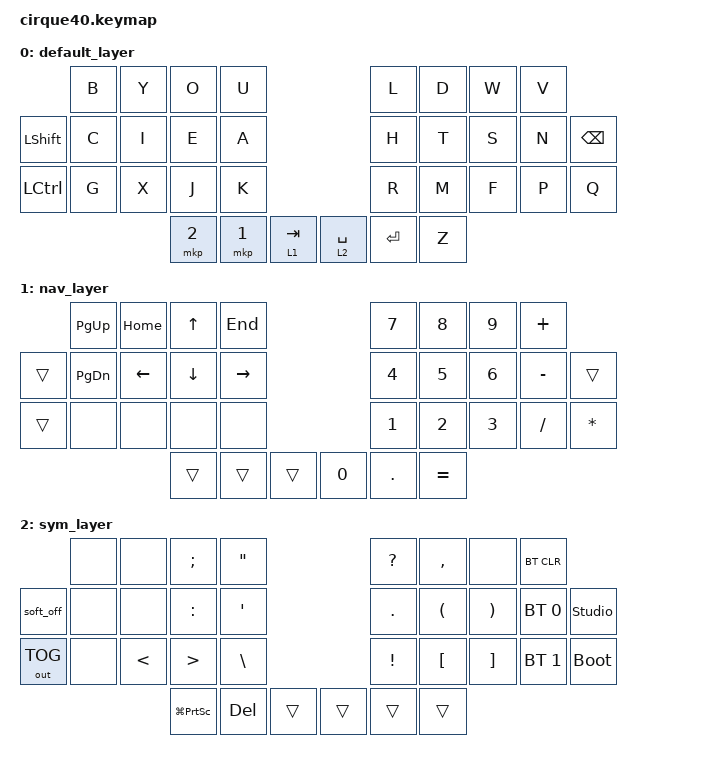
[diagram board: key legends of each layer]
 /*
 * Copyright (c) 2024 idesignstuff
 *
 * SPDX-License-Identifier: MIT
 */

#include <behaviors.dtsi>
#include <dt-bindings/zmk/keys.h>
#include <dt-bindings/zmk/bt.h>
#include <dt-bindings/zmk/outputs.h>
#include <zephyr/dt-bindings/input/input-event-codes.h>
#include <input/processors.dtsi>
#include <dt-bindings/zmk/input_transform.h>
#include <dt-bindings/zmk/ext_power.h>
#include <dt-bindings/zmk/pointing.h>

// layer defines
#define DEFAULT 0
#define NAV     1
#define SYM     2

 / {
     glidepoint_listener {
        compatible = "zmk,input-listener";
        device = <&glidepoint>;
        input-processors = 
        <&zip_xy_transform (INPUT_TRANSFORM_XY_SWAP |INPUT_TRANSFORM_X_INVERT | INPUT_TRANSFORM_Y_INVERT)>,
        <&zip_temp_layer 4 1000>;
     }; //end glidepoint
/* commenting out scroller function until it's understood
      scroller {
        layers = <SCROLL>;
        input-processors =
            <&zip_xy_to_scroll_mapper>,
            <&zip_scroll_transform (INPUT_TRANSFORM_XY_SWAP | INPUT_TRANSFORM_Y_INVERT)>,
            <&zip_scroll_scaler 1 6>;
    }; // end scroller
*/
   }; // end cirque listener group

// Mouse Scroll Value
#define ZMK_POINTING_DEFAULT_SCRL_VAL 100




/ {
    behaviors {
        // Home row mod tap settings
        /* hrm: home_row_mods {
            compatible = "zmk,behavior-hold-tap";
            label = "HOME_ROW_MODS";
            #binding-cells = <2>;
            tapping-term-ms = <200>;
            quick-tap-ms = <0>;
            flavor = "tap-preferred";
            bindings = <&kp>, <&kp>;
        }; // end home row mod tap settings*/

        pht: positional_hold_tap {
            compatible = "zmk,behavior-hold-tap";
            label = "POSITIONAL_HOLD_TAP";
            #binding-cells = <2>;
            flavor = "hold-preferred";
            tapping-term-ms = <400>;
            quick-tap-ms = <200>;
            bindings = <&kp>, <&kp>;
            hold-trigger-key-positions = <1>;    // <---[[the W key]]
            }; //end positional hold tap

       rpi: require_prior_idle {
         compatible = "zmk,behavior-hold-tap";
         #binding-cells = <2>;
         flavor = "tap-preferred";
         tapping-term-ms = <200>;
         quick-tap-ms = <200>;
         require-prior-idle-ms = <80>;
         bindings = <&kp>, <&kp>;
         }; //end require prior idle
    }; // end behaviors
};

/ {
    combos {
        compatible = "zmk,combos";

        combo_grave {
            bindings = <&kp GRAVE>;
            key-positions = <0 1>;
            require-prior-idle-ms = <100>;
            layers = <0>;
        };

        combo_capslock {
            bindings = <&caps_word>;
            key-positions = <23 26>;
            require-prior-idle-ms = <100>;
            layers = <0>;
        };

        combo_hyphen {
            bindings = <&kp MINUS>;
            key-positions = <8 9>;
            require-prior-idle-ms = <100>;
            layers = <0>;
        };

        combo_equals {
            bindings = <&kp EQUAL>;
            key-positions = <18 19>;
            require-prior-idle-ms = <100>;
            layers = <0>;
        };

        combo_backslash {
            bindings = <&kp BSLH>;
            key-positions = <38 39>;
            require-prior-idle-ms = <100>;
            layers = <0>;
        };

        open_par {
            bindings = <&kp LEFT_PARENTHESIS>;
            key-positions = <43 44>;
            require-prior-idle-ms = <100>;
        };

        close_par {
            bindings = <&kp RIGHT_PARENTHESIS>;
            key-positions = <45 46>;
            require-prior-idle-ms = <100>;
        };

        open_brkt {
            bindings = <&kp LEFT_BRACKET>;
            key-positions = <42 43>;
            require-prior-idle-ms = <100>;
        };

        close_brkt {
            bindings = <&kp RIGHT_BRACKET>;
            key-positions = <46 47>;
            require-prior-idle-ms = <100>;
        };

        mmb_combo {
            bindings = <&mkp MB3>;
            key-positions = <35 36>;
            require-prior-idle-ms = <250>;
        };

    };
};

/ {
    macros {
       // Your macros here ;)
    };

    keymap {
        compatible = "zmk,keymap";

        default_layer {
            bindings = <   
//               ╭──────────────┬──────────────┬──────────────┬──────────────╮                                     ╭──────────────┬──────────────┬──────────────┬─────────────╮
                       &kp B          &kp Y         &kp O          &kp U                                                 &kp L          &kp D          &kp W         &kp V
//╭──────────────┼──────────────┼──────────────┼──────────────┼──────────────┤                                     ├──────────────┼──────────────┼──────────────┼──────────────┼────────────────╮
     &kp LSHFT          &kp C          &kp I         &kp E         &kp A                                                 &kp H          &kp T          &kp S          &kp N       &kp BSPC 
//├──────────────┼──────────────┼──────────────┼──────────────┼──────────────┤                                     ├──────────────┼──────────────┼──────────────┼──────────────┼────────────────┤ 
     &kp LCTRL         &kp G           &kp X         &kp J          &kp K                                                &kp R          &kp M          &kp F          &kp P          &kp Q
//╰──────────────┴──────────────┴──────────────┼──────────────┼──────────────┼─────────────────╮ ╭─────────────────┼──────────────┼──────────────┼──────────────┴──────────────┴────────────────╯ 
                                                     &mkp 2        &mkp 1          &lt 1 TAB          &lt 2 SPACE      &kp RET         &kp Z
//                                             ╰──────────────┴──────────────┴─────────────────╯ ╰─────────────────┴──────────────┴──────────────╯
            >;
        }; // end default layer
        
        nav_layer {
            bindings = <
//               ╭──────────────┬──────────────┬──────────────┬──────────────╮                                     ╭──────────────┬──────────────┬──────────────┬─────────────╮
                     &kp PG_UP       &kp HOME       &kp UP        &kp END                                               &kp N7          &kp N8          &kp N9       &kp PLUS
//╭──────────────┼──────────────┼──────────────┼──────────────┼──────────────┤                                     ├──────────────┼──────────────┼──────────────┼──────────────┼────────────────╮
       &trans        &kp PG_DN      &kp LEFT      &kp DOWN       &kp RIGHT                                             &kp N4          &kp N5          &kp N6       &kp MINUS       &trans
//├──────────────┼──────────────┼──────────────┼──────────────┼──────────────┤                                     ├──────────────┼──────────────┼──────────────┼──────────────┼────────────────┤ 
       &trans          &none           &none         &none          &none                                               &kp N1          &kp N2          &kp N3       &kp FSLH        &kp ASTRK
//╰──────────────┴──────────────┴──────────────┼──────────────┼──────────────┼─────────────────╮ ╭─────────────────┼──────────────┼──────────────┼──────────────┴──────────────┴────────────────╯ 
                                                     &trans         &trans          &trans            &kp N0           &kp DOT      &kp EQUAL
//                                             ╰──────────────┴──────────────┴─────────────────╯ ╰─────────────────┴──────────────┴──────────────╯
            >;
        }; // end nav layer

        sym_layer {
            bindings = <
//               ╭──────────────┬──────────────┬──────────────┬──────────────╮                                     ╭──────────────┬──────────────┬──────────────┬─────────────╮
                       &none          &none        &kp SEMI       &kp DQT                                              &kp QMARK      &kp COMMA       &none       &bt BT_CLR
//╭──────────────┼──────────────┼──────────────┼──────────────┼──────────────┤                                     ├──────────────┼──────────────┼──────────────┼──────────────┼────────────────╮
     &soft_off         &none          &none        &kp COLON      &kp APOS                                              &kp DOT       &kp LPAR        &kp RPAR    &bt BT_SEL 0    &studio_unlock
//├──────────────┼──────────────┼──────────────┼──────────────┼──────────────┤                                     ├──────────────┼──────────────┼──────────────┼──────────────┼────────────────┤ 
     &out OUT_TOG      &none          &kp LT       &kp GT         &kp BSLH                                             &kp EXCL       &kp LBKT        &kp RBKT     &bt BT_SEL 1    &bootloader
//╰──────────────┴──────────────┴──────────────┼──────────────┼──────────────┼─────────────────╮ ╭─────────────────┼──────────────┼──────────────┼──────────────┴──────────────┴────────────────╯ 
                                                 &kp LG(PSCRN)     &kp DEL          &trans              &trans          &trans        &trans
//                                             ╰──────────────┴──────────────┴─────────────────╯ ╰─────────────────┴──────────────┴──────────────╯
            >;
        }; // end symbols layer


        extra1 {
            status = "reserved";
        };

        extra2 {
            status = "reserved";
        };

    }; // end keymap

 }; // top node end
